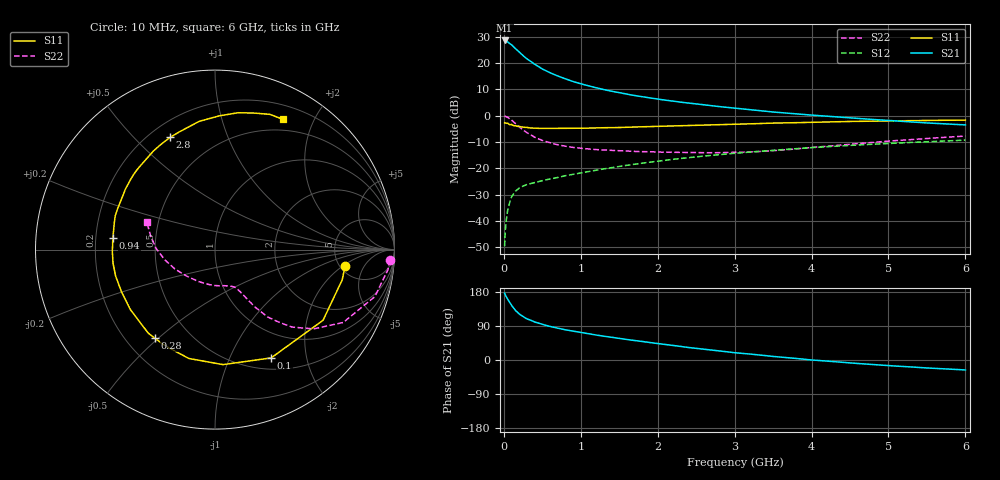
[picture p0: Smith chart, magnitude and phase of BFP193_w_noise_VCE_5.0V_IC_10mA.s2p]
! (c) 2016  Infineon Technologies AG, Munich
! Infineon Technologies  Discrete & RF Semiconductors
! BFP193
! VCE = 5.0 V,  IC =  10 mA
! Common Emitter S-Parameters:  Jan 2016
# GHz  S  MA  R  50
!  f  S11  S21  S12  S22
! GHz  MAG  ANG  MAG  ANG  MAG  ANG  MAG  ANG
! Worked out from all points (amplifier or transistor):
!   210 points, 10 MHz to 6 GHz, reference 50 ohm
!   highest |S21| = 28.6 dB at 10 MHz (marker M1)
!   |S21| within 3 dB of that: start of sweep to 148.3 MHz
!   unconditionally stable (mu >= 1): 1.018 GHz to 3.748 GHz
!   at 185 MHz: K = 0.32, MSG = 26.2 dB, |S12| = -27.9 dB
!   at 1.52 GHz: K = 1.08, MAG = 12.2 dB, |S12| = -19.3 dB
!   at 6 GHz: K = 0.90, MSG = 2.9 dB, |S12| = -9.3 dB
!   lowest NFmin = 1.30 dB at 450 MHz
!   S11 on the Smith chart (normalised r, x): 10 MHz: 5.59, -2.14; 100 MHz: 0.64, -1.44; 280 MHz: 0.32, -0.49; 940 MHz: 0.27, +0.05; 2.8 GHz: 0.28, +0.64; 6 GHz: 0.36, +1.59
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0.01  0.7309 -7.0  26.78 176.5  0.0033 87.2  0.9752 -3.4
0.02  0.7284 -13.4  26.27 171.2  0.0067 82.8  0.9697 -6.7
0.05  0.7193 -33.2  25.15 160.1  0.0158 75.8  0.9282 -16.4
0.1  0.6796 -62.6  22.2 144.0  0.0283 62.8  0.8218 -29.6
0.15  0.6424 -86.0  18.86 130.6  0.0365 54.1  0.7052 -38.8
0.2  0.6238 -103.5  16.14 121.4  0.042 49.4  0.6095 -45.1
0.24  0.6048 -114.9  14.21 115.7  0.045 46.6  0.5469 -48.2
0.28  0.5963 -124.3  12.68 110.9  0.0477 44.6  0.497 -50.8
0.3  0.5956 -128.7  11.99 108.5  0.0489 43.8  0.4742 -52.1
0.4  0.5781 -144.6  9.461 100.4  0.0533 42.7  0.3887 -55.2
0.5  0.5715 -155.9  7.691 93.8  0.0579 42.8  0.3363 -56.7
0.6  0.573 -165.1  6.521 88.5  0.0625 43.4  0.3033 -57.8
0.7  0.5732 -172.5  5.656 83.7  0.0665 44.9  0.2785 -58.8
0.94  0.5722 173.6  4.267 74.7  0.0786 46.7  0.2445 -61.1
1.02  0.5748 169.5  3.944 71.9  0.0824 47.3  0.2379 -62.1
1.4  0.59 153.5  2.897 60.0  0.1021 48.4  0.2187 -68.7
2.02  0.6235 133.2  2.039 42.9  0.1373 46.8  0.2023 -84.1
2.8  0.6734 111.7  1.484 23.9  0.181 41.5  0.1976 -110.2
3.1  0.6905 104.8  1.338 17.5  0.1975 38.8  0.2016 -121.8
4.1  0.7502 86.5  0.997 -1.3  0.2513 29.4  0.2544 -157.4
5.1  0.7949 72.8  0.791 -16.1  0.3001 18.9  0.3347 176.5
6  0.8188 62.4  0.665 -26.3  0.3416 9.3  0.4088 158.1
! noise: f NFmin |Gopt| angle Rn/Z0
0.45  1.3  0.22  143  0.11
0.9  1.3  0.34  160  0.11
1.8  2.05  0.54  -153  0.14
